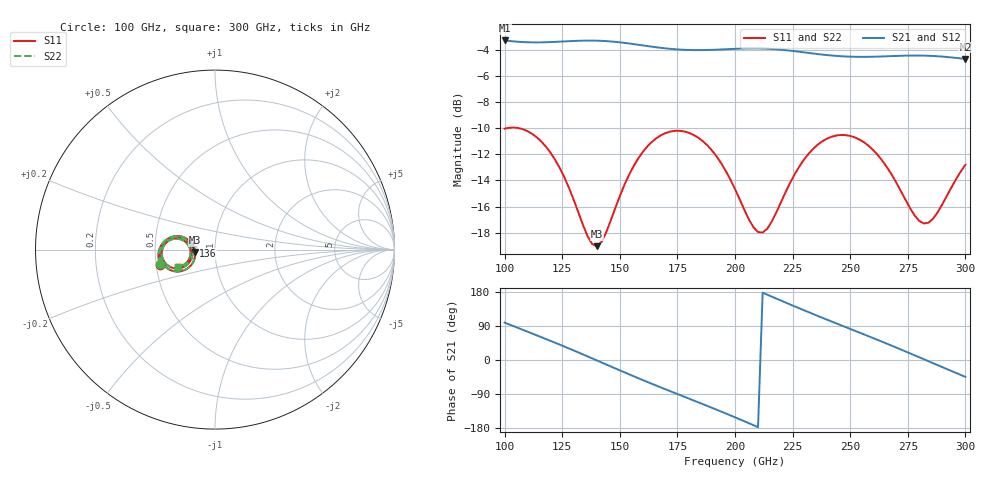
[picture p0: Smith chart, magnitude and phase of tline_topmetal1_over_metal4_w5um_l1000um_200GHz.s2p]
#  GHZ S DB R 50
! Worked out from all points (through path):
!   101 points, 100 GHz to 300 GHz, reference 50 ohm
!   highest |S21| = -3.28 dB at 100 GHz (marker M1); lowest = -4.7 dB at 300 GHz (marker M2)
!   group delay of S21, straight-line fit = 6.99 ps
!   lowest |S11| = -19.0 dB at 140 GHz (marker M3), VSWR 1.25, Z = 40 - j1.27 ohm
!   |S11| at or under -10 dB: start of sweep to 100.9 GHz; 106.3 GHz to end of sweep
!   |S22| runs from -19.1 to -9.9 dB; largest |S21 - S12| = 7.8e-14
!   S11 on the Smith chart (normalised r, x): 100 GHz: 0.53, -0.10; 136 GHz: 0.78, +0.03; 300 GHz: 0.65, -0.13
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100  -10.03 -164.6  -3.28 98.7  -3.28 98.7  -10.04 -164.7
108  -10.08 -178.1  -3.40 79.5  -3.40 79.5  -10.08 -178.3
116  -11.03 169.5  -3.42 60.1  -3.42 60.1  -11.03 169.3
124  -13.07 160.2  -3.37 40.4  -3.37 40.4  -13.08 160.0
134  -17.40 164.8  -3.29 14.8  -3.29 14.8  -17.43 164.5
136  -18.27 170.7  -3.29 9.5  -3.29 9.5  -18.31 170.5
140  -19.03 -172.0  -3.29 -1.0  -3.29 -1.0  -19.08 -172.1
148  -16.13 -147.3  -3.38 -22.1  -3.38 -22.1  -16.16 -147.2
156  -12.90 -147.8  -3.55 -42.8  -3.55 -42.8  -12.91 -147.8
168  -10.53 -162.9  -3.85 -72.8  -3.85 -72.8  -10.53 -162.9
184  -10.72 173.5  -4.01 -111.5  -4.01 -111.5  -10.73 173.4
200  -14.66 160.6  -3.92 -151.2  -3.92 -151.2  -14.68 160.5
208  -17.58 173.5  -3.89 -171.9  -3.89 -171.9  -17.62 173.5
212  -17.99 -172.3  -3.90 177.6  -3.90 177.6  -18.03 -172.3
222  -14.88 -151.3  -4.02 151.6  -4.02 151.6  -14.89 -151.1
234  -11.56 -158.1  -4.28 121.1  -4.28 121.1  -11.56 -158.0
250  -10.59 -179.1  -4.52 82.1  -4.52 82.1  -10.58 -179.0
258  -11.35 170.9  -4.53 62.6  -4.53 62.6  -11.34 171.0
268  -13.55 163.3  -4.47 37.8  -4.47 37.8  -13.53 163.5
282  -17.30 -176.7  -4.44 1.9  -4.44 1.9  -17.22 -176.9
290  -15.82 -157.3  -4.51 -18.9  -4.51 -18.9  -15.77 -157.7
300  -12.79 -155.0  -4.69 -44.5  -4.69 -44.5  -12.78 -155.4
